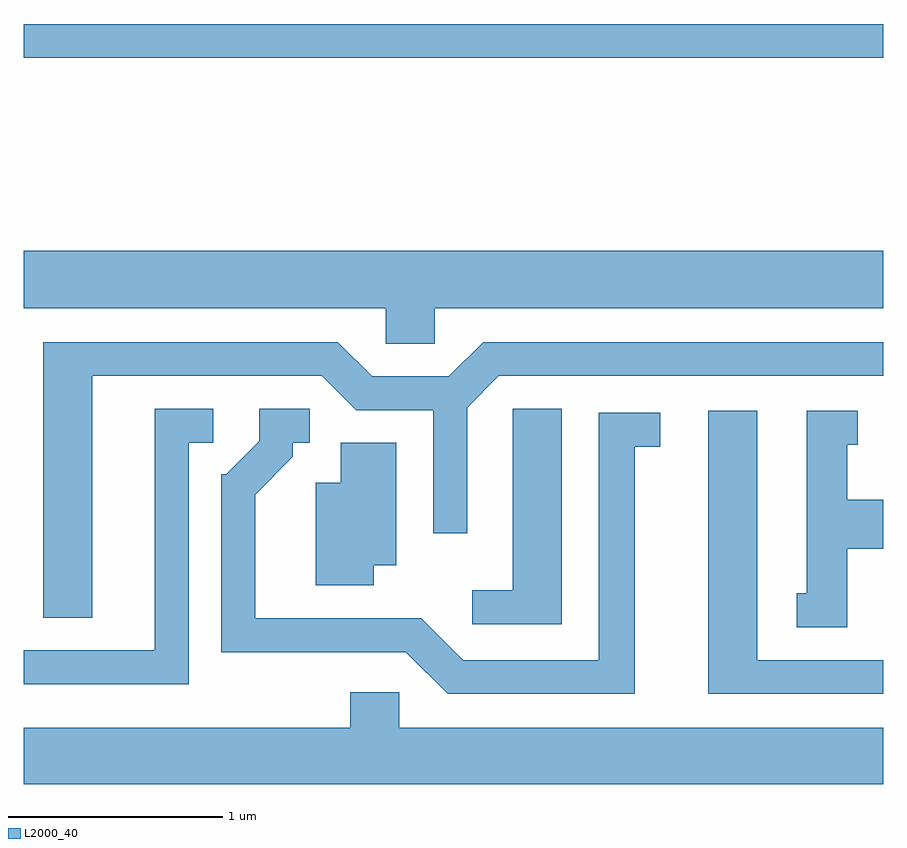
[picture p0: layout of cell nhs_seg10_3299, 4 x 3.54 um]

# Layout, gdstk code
import gdstk
lib = gdstk.Library(unit=1e-6, precision=1e-09)
def R(c, l, rs):  # rectangles x0, y0, x1, y1
    for r in rs: c.add(gdstk.rectangle(r[:2], r[2:], *l))
def P(c, l, *ps):  # polygons
    for p in ps: c.add(gdstk.Polygon(p, *l))
L2000_40 = (2000, 40)

nhs_seg10_3299 = lib.new_cell('nhs_seg10_3299')
R(nhs_seg10_3299, L2000_40, [(281.611,2183.901,285.611,2184.059)])
P(nhs_seg10_3299, L2000_40, [(283.524,2182.736),(285.611,2182.736),(285.611,2183.004),(281.611,2183.004),(281.611,2182.736),(283.296,2182.736),(283.296,2182.571),(283.524,2182.571)],
  [(281.929,2182.421),(282.999,2182.421),(283.159,2182.261),(283.516,2182.261),(283.516,2181.688),(283.674,2181.688),(283.674,2182.274),(283.822,2182.421),(285.611,2182.421),(285.611,2182.579),(283.749,2182.579),(283.589,2182.419),(283.232,2182.419),(283.072,2182.579),(281.701,2182.579),(281.701,2181.296),(281.929,2181.296)],
  [(284.454,2182.091),(284.573,2182.091),(284.573,2182.249),(284.286,2182.249),(284.286,2181.099),(283.657,2181.099),(283.462,2181.294),(282.689,2181.294),(282.689,2181.869),(282.864,2182.044),(282.864,2182.111),(282.943,2182.111),(282.943,2182.269),(282.706,2182.269),(282.706,2182.117),(282.554,2181.964),(282.531,2181.964),(282.531,2181.136),(283.389,2181.136),(283.584,2180.941),(284.454,2180.941)],
  [(284.114,2182.269),(283.886,2182.269),(283.886,2181.424),(283.698,2181.424),(283.698,2181.266),(284.114,2181.266)],
  [(282.379,2182.111),(282.493,2182.111),(282.493,2182.269),(282.221,2182.269),(282.221,2181.144),(281.611,2181.144),(281.611,2180.986),(282.379,2180.986)],
  [(285.444,2181.616),(285.611,2181.616),(285.611,2181.844),(285.444,2181.844),(285.444,2182.101),(285.493,2182.101),(285.493,2182.259),(285.256,2182.259),(285.256,2181.409),(285.208,2181.409),(285.208,2181.251),(285.444,2181.251)],
  [(285.611,2181.099),(285.024,2181.099),(285.024,2182.259),(284.796,2182.259),(284.796,2180.941),(285.611,2180.941)],
  [(283.239,2181.541),(283.344,2181.541),(283.344,2182.109),(283.086,2182.109),(283.086,2181.924),(282.971,2181.924),(282.971,2181.446),(283.239,2181.446)],
  [(285.611,2180.784),(283.359,2180.784),(283.359,2180.949),(283.131,2180.949),(283.131,2180.784),(281.611,2180.784),(281.611,2180.522),(285.611,2180.522)])

lib.write_gds('nhs_seg10_3299.gds')
